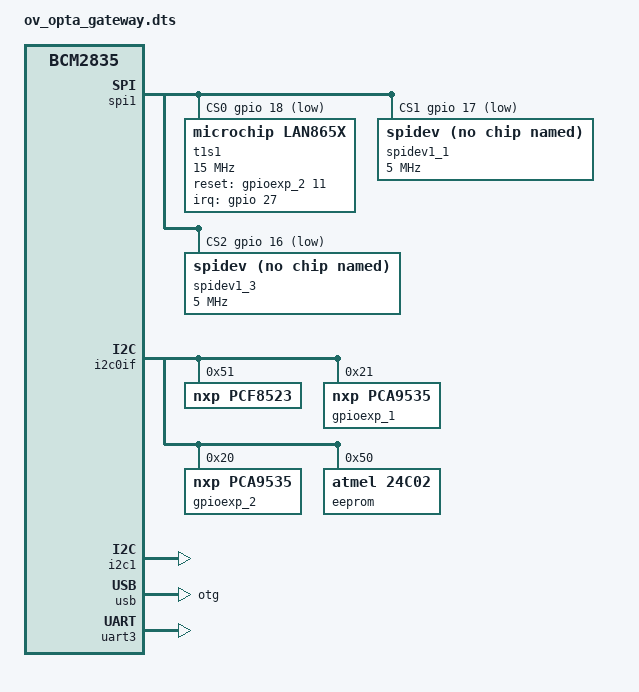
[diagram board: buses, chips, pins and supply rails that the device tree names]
/*
 * Device tree overlay for Arduino Opta Gateway ARCH1 / ARCH2
 *
 * Arduino Oct 2024
 */

/dts-v1/;
/plugin/;

#include <dt-bindings/pinctrl/bcm2835.h>
#include <dt-bindings/gpio/gpio.h>
#include <dt-bindings/interrupt-controller/irq.h>
#include <dt-bindings/interrupt-controller/arm-gic.h>

/ {
	compatible = "brcm,bcm2835";

	/* SPI */
	/* Board 2to1 J3 */
	/* J3.18 CS0 T1S LAN8651B1-E ARCH1 */
	/* J3.20 CS1 J8.15 ARCH1 */
	/* CS to Sd Card */

	fragment@0 {
		target = <&spi1>;
		__overlay__ {
			/* needed to avoid dtc warning */
			#address-cells = <1>;
			#size-cells = <0>;

			pinctrl-names = "default";
			pinctrl-0 = <&spi1_pins &spi1_cs_pins>;
			cs-gpios = <&gpio 18 1>, <&gpio 17 1>, <&gpio 16 1>;
			status = "okay";

			/* To ARCH1 */
			/* Debug Only */
			spidev1_0: spidev@0 {
				compatible = "spidev";
				reg = <0>;      /* CE0 */
				#address-cells = <1>;
				#size-cells = <0>;
				spi-max-frequency = <5000000>;
				status = "disabled";
			};

			/* To ARCH1 */
			/* T1S LAN8651B1-E */
			/* IRQ GPIO27 */
			/* RST gpioexp_2 P13 */
			t1s1: lan865x@0 {
				compatible = "microchip,lan865x";
				reg = <0>; /* CE0 */
				pinctrl-names = "default";
				pinctrl-0 = <&t1s1_pins>;
				interrupt-parent = <&gpio>;
				interrupts = <27 0x2>; /* 0x2 - falling edge trigger, 0x8 - active low level-sensitive */
				local-mac-address = [04 05 06 01 02 03];
				spi-max-frequency = <15000000>;
				/* PLCA settings */
				plca-enable = /bits/ 8 <1>; /* 1 - PLCA enable, 0 - CSMA/CD enable */
				plca-node-id = /bits/ 8 <0>; /* PLCA node id range: 0 to 254 */
				plca-node-count = /bits/ 8 <8>; /* PLCA node count range: 1 to 255 */
				plca-burst-count = /bits/ 8 <0x0>; /* PLCA burst count range: 0x0 to 0xFF */
				plca-burst-timer = /bits/ 8 <0x80>; /* PLCA burst timer */
				plca-to-timer = /bits/ 8 <0x20>; /* PLCA TO value */
				tx-cut-through-mode = /bits/ 8 <0>; /* 1 - tx cut through mode enable, 0 - Store and forward mode enable */
				rx-cut-through-mode = /bits/ 8 <0>; /* 1 - rx cut through mode enable, 0 - Store and forward mode enable */
				oa-chunk-size = /bits/ 8 <64>;
				oa-protected = /bits/ 8 <1>;
				reset-gpios = <&gpioexp_2 11 0>; /* RST on gpioexp_2 P13, active low */
				status = "okay";
			};

			/* To ARCH1 */
			/* J8 */
			spidev1_1: spidev@1 {
				compatible = "spidev";
				reg = <1>;      /* CE1 */
				#address-cells = <1>;
				#size-cells = <0>;
				spi-max-frequency = <5000000>;
				status = "okay";
			};

			/* On ARCH2 */
			/* Debug Only */
			spidev1_3: spidev@2 {
				compatible = "spidev";
				reg = <2>; /* CS */
				#address-cells = <1>;
				#size-cells = <0>;
				spi-max-frequency = <5000000>;
				status = "okay";
			};

			/* On ARCH2 */
			/* Sd Card */
			mmc_slot: mmcslot@2 {
				compatible = "mmc-spi-slot";
				voltage-ranges = <2700 3600>;
				reg = <2>;      /* CS */
				#address-cells = <1>;
				#size-cells = <0>;
				spi-max-frequency = <5000000>;
				status = "disabled";
			};
		};
	};

	/* I2C */

	/* ID_SD / ID_SC
	// See i2c0-overlay.dts
	// You can just load dtoverlay=i2c0
	Available devices:
	- EEPROM
	- GPIOEXP1
	- GPIOEXP2
	- RTC
	*/
	fragment@1 {
		target = <&i2c0mux>;
		__overlay__ {
			status = "disabled";
		};
	};

	fragment@2 {
		target = <&i2c0if>;
		__overlay__ {
			pinctrl-names = "default";
			pinctrl-0 = <&i2c0_pins>;
			status = "okay";

			/* On ARCH2 */
			/* U5 RTC */
			// INTA -> GLOBAL_EN
			// INTB -> gpioexp_1 P00A
			pcf8523: pcf8523@51 {
				compatible = "nxp,pcf8523";
				reg = <0x51>;
			};

			/* On ARCH2 */
			/* U2_1 GPIO EXP */
			// See pca953x-overlay.dts
			gpioexp_1: gpio@21 {
				compatible = "nxp,pca9535";
				//pinctrl-names = "default";
				//pinctrl-0 = <&pinctrl_gpioexp_1>;
				reg = <0x21>;
				gpio-controller;
				#gpio-cells = <2>;
				//interrupt-controller;
				//#interrupt-cells = <2>;
				//interrupt-parent = <&gpio>;
				//interrupts = <24 IRQ_TYPE_LEVEL_LOW>;
			};

			/* On ARCH2 */
			/* U2_2 GPIO EXP */
			// // See pca953x-overlay.dts
			gpioexp_2: gpio@20 {
				compatible = "nxp,pca9535";
				//pinctrl-names = "default";
				//pinctrl-0 = <&pinctrl_gpioexp_2>;
				reg = <0x20>;
				gpio-controller;
				#gpio-cells = <2>;
				//interrupt-controller;
				//#interrupt-cells = <2>;
				//interrupt-parent = <&gpio>;
				//interrupts = <25 IRQ_TYPE_LEVEL_LOW>;
			};

			/* On ARCH2 */
			/*  U4 EEPROM 0x50 */
			/* WP is held to GND */
			eeprom@50 {
				compatible = "atmel,24c02";
				reg = <0x50>;
				pagesize = <16>;
			};
		};
	};

	/* I2C GPIO2 / GPIO3
	// See i2c1-overlay.dts
	// You can just load dtoverlay=i2c1
	Available devices:
	- J1 (PADS) >> ARCH2
	- J7 QWIIC >> ARCH1
	*/
	fragment@3 {
		target = <&i2c1>;
		__overlay__ {
			pinctrl-names = "default";
			pinctrl-0 = <&i2c1_pins>;
			status = "okay";
		};
	};

	/* USB */
	// See dwc2-overlay.dts
	// You can just load dtoverlay=dwc2
	fragment@4 {
		target = <&usb>;
		#address-cells = <1>;
		#size-cells = <1>;
		dwc2_usb: __overlay__ {
			compatible = "brcm,bcm2835-usb";
			dr_mode = "otg";
			g-np-tx-fifo-size = <32>;
			g-rx-fifo-size = <558>;
			g-tx-fifo-size = <512 512 512 512 512 256 256>;
			status = "okay";
		};
	};

	/* UART3 */
	fragment@5 {
		target = <&uart3>;
		__overlay__ {
			pinctrl-names = "default";
			pinctrl-0 = <&uart3_pins>;
			pinctrl-1 = <&uart3_ctsrts_gpio6>;
			status = "okay";
		}
	}

	/* PINMUX */
	fragment@6 {
		target = <&gpio>;
		__overlay__ {
			pinctrl_gpioexp_1: gpioexp_1grp {
				brcm,pins = <24>;
				brcm,function = <BCM2835_FSEL_GPIO_OUT>;
			};

			pinctrl_gpioexp_2: gpioexp_2grp {
				brcm,pins = <25>;
				brcm,function = <BCM2835_FSEL_GPIO_OUT>;
			};

			t1s1_pins: t1s1pins {
				brcm,pins = <27>;
				brcm,function = <0>; /* IN */
				brcm,pull = <0>; /* NONE */
			};

			spi1_pins: spi1pins {
				brcm,pins = <19 20 21>;
				brcm,function = <BCM2835_FSEL_ALT5>; /* MISO, MOSI, CK */
			};

			spi1_cs_pins: spi1cspins {
				brcm,pins = <18 17 16>; /* CS0, CS1, CS2 */
				brcm,function = <BCM2835_FSEL_GPIO_OUT>; /* CS SPI1 as GPIOS */
			};
		};
	};

	/* @TODO: next nodes */
};
